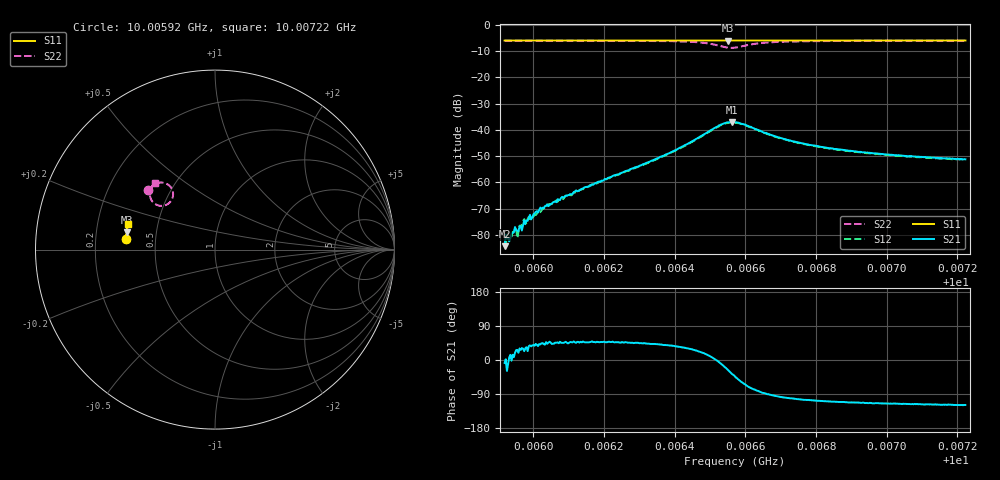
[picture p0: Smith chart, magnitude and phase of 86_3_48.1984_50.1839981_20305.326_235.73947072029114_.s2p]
#  HZ  S  RI  R  50.00
! Rohde & Schwarz Vector Network Analyzer
! Rohde-Schwarz,ZNB20-2Port,1311601062101988,3.16
! Created: UTC 3/20/2024, 11:39:54 AM
! freq[Hz]  re:S11  im:S11  re:S21  im:S21  re:S12  im:S12  re:S22  im:S22
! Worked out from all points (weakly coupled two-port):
!   401 points, 10.00592 GHz to 10.00722 GHz, reference 50 ohm
!   highest |S21| = -36.96 dB at 10.00656 GHz (marker M1); lowest = -84.3 dB at 10.00592 GHz (marker M2)
!   lowest |S11| = -6.0 dB at 10.00655 GHz (marker M3), VSWR 3.01, Z = 16.8 + j4.37 ohm
!   |S11| at or under -10 dB: nowhere
!   |S22| runs from -8.8 to -6.0 dB; largest |S21 - S12| = 0.001
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1.0005919e10  -0.4981 0.0572  6.07e-05 -8.22e-06  8.28e-05 -1.95e-05  -0.3707 0.3327
1.0005935e10  -0.4979 0.0583  8.44e-05 2.05e-05  0.000103 1.68e-05  -0.3699 0.3338
1.0005952e10  -0.4978 0.0594  0.000112 5.47e-05  0.000123 3.48e-05  -0.369 0.335
1.0005961e10  -0.4979 0.0601  0.000125 7.3e-05  0.000138 6.15e-05  -0.3683 0.3356
1.0005968e10  -0.4978 0.0604  0.000104 6.39e-05  0.000139 8.45e-05  -0.3681 0.3361
1.0005984e10  -0.4977 0.0616  0.00017 7.43e-05  0.000171 0.000105  -0.367 0.3371
1.0006026e10  -0.4975 0.0642  0.000236 0.000232  0.000231 0.000211  -0.3644 0.34
1.0006095e10  -0.497 0.0688  0.00039 0.000399  0.000348 0.000437  -0.3597 0.3449
1.0006137e10  -0.4968 0.0716  0.000518 0.00055  0.000475 0.000572  -0.3565 0.3481
1.0006356e10  -0.4948 0.0858  0.00221 0.00195  0.0021 0.00201  -0.3276 0.3679
1.0006427e10  -0.4939 0.0904  0.00428 0.00271  0.00403 0.00281  -0.3039 0.3736
1.0006483e10  -0.4929 0.094  0.0078 0.00253  0.00751 0.00278  -0.2681 0.3659
1.0006525e10  -0.4921 0.0965  0.0121 -0.00112  0.0117 -0.000545  -0.2354 0.3245
1.0006551e10  -0.4916 0.0976  0.0125 -0.00619  0.0124 -0.00548  -0.2415 0.2768
1.0006561e10  -0.4916 0.098  0.0115 -0.00828  0.0118 -0.0073  -0.2537 0.261
1.0006571e10  -0.4915 0.0985  0.0101 -0.00963  0.0103 -0.00896  -0.27 0.25
1.0006642e10  -0.4918 0.1029  0.0009 -0.00955  0.00136 -0.00939  -0.3539 0.2755
1.0006701e10  -0.4913 0.1067  -0.000926 -0.00694  -0.000568 -0.00683  -0.3629 0.3068
1.0006789e10  -0.4903 0.1125  -0.00146 -0.0049  -0.00117 -0.00485  -0.3593 0.3315
1.000689e10  -0.489 0.119  -0.00151 -0.00374  -0.00128 -0.00377  -0.3525 0.3469
1.0007007e10  -0.4875 0.1265  -0.00144 -0.00307  -0.00126 -0.00308  -0.3449 0.3586
1.0007222e10  -0.4841 0.14  -0.00132 -0.00242  -0.00121 -0.0024  -0.3323 0.3737
